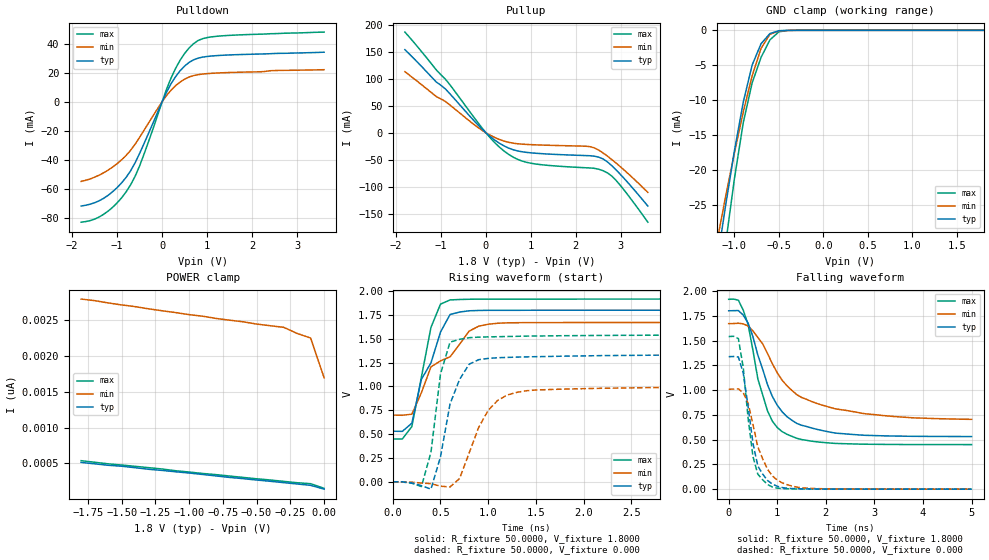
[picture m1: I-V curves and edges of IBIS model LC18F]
| Xilinx CoolRunner-II IBIS models
[IBIS ver]   3.2
[File name]   a.ibs
[File Rev]   0.3
[Date]   Thu Nov 24 17:22:20 2011
[Source]   HSPICE simulations
[Notes]   Xilinx IBIS models for CoolRunner-II
|   The available package models are
|   XC2C32  - CP56, VQ44 and PC44
|   XC2C64  - CP56, VQ44, VQ100 and PC44
|   XC2C128 - FT256, TQ144, CP132 and VQ100
|   XC2C256 - FT256, PQ208, TQ144, CP132, and VQ100
|   XC2C384 - FG324, FT256, PQ208, and TQ144
|   XC2C512 - FG324, FT256, and PQ208
|   with CP56 being selected as a default.
|   Please make your own selection of the packages by
|   commenting out the unused ones.
|   Model names:
|   lc15f - LVCMOS 1.5V & fast slew rate
|   lc15s - LVCMOS 1.5V & slow slew rate
|   lc18f - LVCMOS 1.8V & fast slew rate
|   lc18s - LVCMOS 1.8V & slow slew rate
|   lc25f - LVCMOS 2.5V & fast slew rate
|   lc25s - LVCMOS 2.5V & slow slew rate
|   lc33f - LVCMOS 3.3V & fast slew rate
|   lc33s - LVCMOS 3.3V & slow slew rate
|   hs15f  - HSTL1 1.5V & fast slew rate
|   hs15s  - HSTL1 1.5V & slow slew rate
|   ss25f  - SSTL2-1 2.5V & fast slew rate
|   ss25s  - SSTL2-1 2.5V & slow slew rate
|   ss33f  - SSTL3-1 3.3V & fast slew rate
|   ss33s  - SSTL3-1 3.3V & slow slew rate
|   lt33f  - LVTTL 3.3V & fast slew rate
|   lt33s  - LVTTL 3.3V & slow slew rate
|   COMMENTS: Models include process corners for MIN and MAX
|   NOTE: This file is compliant with IBIS Version 3.2, but it
|   may not implement all approved 3.2 features.
|   NOTE:  Newer versions of the buffer models may be available.
|   Check the web (http://www.xilinx.com/support/sw_ibis.htm) for
|   the latest file revision.  However, please be aware that the
|   web files are not compatible for use with IBISWriter, and
|   must be manually annotated, should their use be preferred.
[Disclaimer]   The data in this model is derived from SPICE simulations
|   using modeling information extracted from the target pro-
|   cess. While a great deal of care has been take to provide
|   information that is accurate, this model is considered
|   preliminary as it has not been verified by actual silicon
|   measurement. Treat the data in this model as preliminary
|   until actual silicon verification is performed.
[Copyright]   Copyright 2003, Xilinx Inc., All rights reserved
|   Component XBR
[Component]   XBR
[Manufacturer]   Xilinx Inc.
[Package]
| For Package Type vq100
| variable   typ   min   max
R_pkg   108.500m   105.000m   112.000m
L_pkg   5.5500nH   5.0000nH   6.1000nH
C_pkg   0.5500pF   0.4000pF   0.7000pF
[Pin]  signal_name   model_name   R_pin   L_pin   C_pin
13   F<0>   LC18F
12   F<1>   LC18F
11   F<2>   LC18F
10   F<3>   LC18F
| Models and submodels in the file (1): LC18F (I/O)
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|   Model LC18F
[Model]   LC18F
Model_type   I/O
Polarity   Inverting
Enable   Active-High
Vinl =   0.36000V
Vinh =   1.26000V
Vmeas =   0.9000V
Cref =  35.0000pF
Rref =  56.0000
Vref =  0.9000V
C_comp   1.4810pF   0.9482pF   2.0140pF
[Temperature Range]   25.0000   100.0000   0.000
[Voltage Range]   1.8000V   1.7000V   1.9000V
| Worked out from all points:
|   slope of the pulldown table from 0 to 0.27 V, typ, clamps not added: 17 ohm
|   slope of the pullup table from 0 to 0.27 V, typ, clamps not added: 15.3 ohm
|   GND clamp passes 1 mA (typ) near -0.64 V on its own axis
|   rising waveform, R_fixture 50.0000, V_fixture 1.8000: 20-80 % time 256ps typ, 443ps min, 170ps max; typ from 0.531 V to 1.8 V
|   rising waveform, R_fixture 50.0000, V_fixture 0.000: 20-80 % time 197ps typ, 288ps min, 131ps max; typ from 0 V to 1.33 V
|   falling waveform, R_fixture 50.0000, V_fixture 1.8000: 20-80 % time 600ps typ, 960ps min, 430ps max; typ from 1.8 V to 0.531 V
|   falling waveform, R_fixture 50.0000, V_fixture 0.000: 20-80 % time 255ps typ, 371ps min, 213ps max; typ from 1.34 V to 0 V
[Pulldown]
| voltage   I(typ)   I(min)   I(max)
-1.8V     -71.81mA   -54.84mA   -82.9mA
-1.5V     -69.49mA   -51.9mA    -80.79mA
-1.2V     -64.37mA   -47.05mA   -75.24mA
-900mV    -55.8mA    -39.97mA   -66.09mA
-700mV    -47.49mA   -33.42mA   -57.13mA
-500mV    -35.5mA    -24.46mA   -44.05mA
200mV     12.46mA    7.971mA    16.42mA
400mV     21.32mA    13.55mA    28.59mA
700mV     28.84mA    18.01mA    39.96mA
900mV     30.67mA    19.03mA    43.37mA
1.3V      31.88mA    19.86mA    45.25mA
3.6V      34.07mA    22.02mA    47.9mA
[Pullup]
| voltage   I(typ)   I(min)   I(max)
-1.8V     153.5mA    112.8mA    186mA
-1.1V     93.58mA    66.76mA    115.8mA
-800mV    72.05mA    51.3mA     88.72mA
-100mV    8.008mA    5.369mA    10.44mA
400mV     -24.16mA   -15.28mA   -33.55mA
700mV     -33.47mA   -20.28mA   -48.91mA
1V        -37.08mA   -21.92mA   -56.25mA
2.3V      -42.4mA    -25.41mA   -64.98mA
2.5V      -44.8mA    -31.66mA   -67.1mA
2.7V      -53.68mA   -43.08mA   -74.03mA
3V        -77.83mA   -63.53mA   -98.34mA
3.6V      -135.4mA   -110.1mA   -165.2mA
[GND_clamp]
| voltage   I(typ)   I(min)   I(max)
-1.8V     -89.59mA   -75.16mA   -106.6mA
-1.2V     -33.66mA   -30.6mA    -40.86mA
-1.1V     -25.24mA   -23.93mA   -30.77mA
-1V       -17.32mA   -17.6mA    -21.32mA
-900mV    -10.29mA   -11.7mA    -13.23mA
-800mV    -4.969mA   -6.512mA   -7.511mA
-700mV    -1.912mA   -2.585mA   -3.865mA
-600mV    -461.7uA   -562.3uA   -1.358mA
-500mV    -51.62uA   -96uA      -215.1uA
-400mV    -3.51uA    -19.18uA   -14.57uA
1.8V      138.1pA    2.651nA    129.3pA
[POWER_clamp]
| voltage   I(typ)   I(min)   I(max)
-1.8V     512.6pA    2.798nA    536.7pA
-1.7V     492.5pA    2.776nA    514.3pA
-1.6V     472.5pA    2.744nA    492.6pA
-1.5V     459.1pA    2.716nA    475.7pA
-1.3V     416.2pA    2.661nA    438.8pA
-800mV    323.3pA    2.527nA    341.2pA
-600mV    285.2pA    2.48nA     302.6pA
-500mV    266pA      2.448nA    283.2pA
-300mV    229.6pA    2.403nA    247.3pA
-200mV    210.2pA    2.317nA    228.1pA
-100mV    191.8pA    2.253nA    214.5pA
0V        138pA      1.697nA    149.9pA
[Ramp]
dV/dt_r   0.8010/0.1675n   0.6018/0.2742n   0.9240/0.1081n
dV/dt_f   0.7613/0.5688n   0.5514/1.0399n   0.8879/0.3752n
R_load = 50.0000
[Rising Waveform]
R_fixture = 50.0000
V_fixture = 1.8000
V_fixture_min = 1.6000
V_fixture_max = 2.0000
L_fixture = 0.000H
C_fixture = 0.000F
| time   V(typ)   V(min)   V(max)
0s        530.7mV    699.7mV    449.6mV
100ps     528.8mV    697.7mV    448.9mV
200ps     614.7mV    709.3mV    579.5mV
300ps     1.075V     934.1mV    1.098V
400ps     1.247V     1.205V     1.619V
500ps     1.57V      1.268V     1.863V
600ps     1.754V     1.311V     1.907V
800ps     1.793V     1.58V      1.914V
1.1ns     1.798V     1.663V     1.915V
5ns       1.799V     1.671V     1.916V
[Rising Waveform]
R_fixture = 50.0000
V_fixture = 0.000
V_fixture_min = 0.000
V_fixture_max = 0.000
L_fixture = 0.000H
C_fixture = 0.000F
| time   V(typ)   V(min)   V(max)
0s        0V         0V         0V
300ps     -40.19mV   -13.02mV   -49.58mV
400ps     -76.96mV   -19mV      309.5mV
500ps     261.5mV    -45.98mV   1.131V
600ps     816.3mV    -53.85mV   1.464V
700ps     1.073V     34.95mV    1.494V
800ps     1.233V     301.3mV    1.511V
1ns       1.294V     749.4mV    1.52V
1.3ns     1.308V     938.1mV    1.526V
5ns       1.335V     1.003V     1.54V
[Falling Waveform]
R_fixture = 50.0000
V_fixture = 1.8000
V_fixture_min = 1.6000
V_fixture_max = 2.0000
L_fixture = 0.000H
C_fixture = 0.000F
| time   V(typ)   V(min)   V(max)
0s        1.8V       1.671V     1.916V
200ps     1.802V     1.675V     1.907V
300ps     1.756V     1.668V     1.806V
400ps     1.676V     1.646V     1.661V
600ps     1.354V     1.531V     1.114V
800ps     1.054V     1.369V     788.7mV
1.1ns     781mV      1.101V     580.8mV
1.5ns     645.1mV    925.7mV    500.8mV
2.2ns     565.9mV    810.4mV    461.6mV
5ns       531.1mV    704.8mV    449.7mV
[Falling Waveform]
R_fixture = 50.0000
V_fixture = 0.000
V_fixture_min = 0.000
V_fixture_max = 0.000
L_fixture = 0.000H
C_fixture = 0.000F
| time   V(typ)   V(min)   V(max)
0s        1.337V     1.009V     1.54V
200ps     1.333V     1.012V     1.52V
300ps     1.171V     973.1mV    1.228V
400ps     833mV      868.4mV    715.7mV
500ps     464.4mV    654.5mV    328.7mV
600ps     233mV      426mV      151.2mV
800ps     87.63mV    201.3mV    46.92mV
1.1ns     16.41mV    64.36mV    6.302mV
1.5ns     3.473mV    14.19mV    1.671mV
5ns       15.63uV    57.06uV    2.664uV
